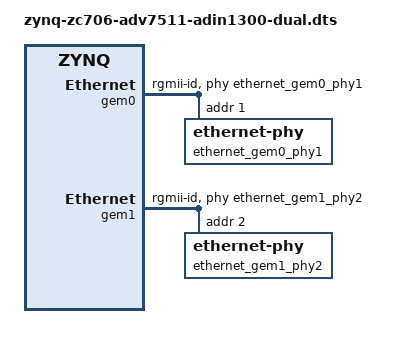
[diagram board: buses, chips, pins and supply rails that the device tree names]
/dts-v1/;

/include/ "zynq-zc706.dtsi"
/include/ "zynq-zc706-adv7511.dtsi"

&gem0 {
	status = "okay";
	phy-mode = "rgmii-id";
	phy-handle = <&ethernet_gem0_phy1>;

	ethernet_gem0_phy1: ethernet-phy@1 {
		reg = <1>;
	};
};

&gem1 {
	status = "okay";
	phy-mode = "rgmii-id";
	phy-handle = <&ethernet_gem1_phy2>;

	ethernet_gem1_phy2: ethernet-phy@2 {
		reg = <2>;
	};
};
